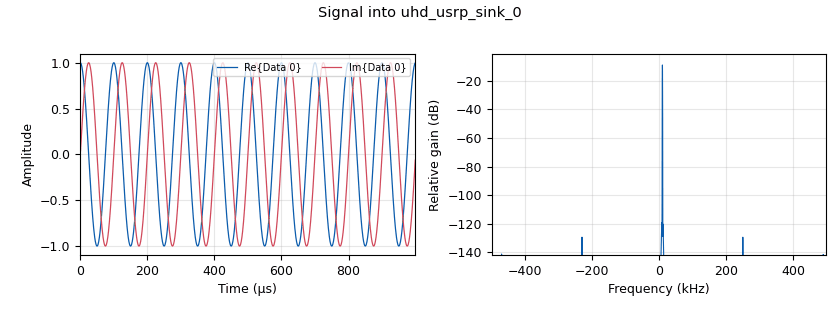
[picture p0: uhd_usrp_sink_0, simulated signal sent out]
<?xml version='1.0' encoding='utf-8'?>
<?grc format='1' created='3.7.5'?>
<flow_graph>
<block>
<key>options</key>
<param><key>id</key><value>top_block</value></param>
<param><key>generate_options</key><value>wx_gui</value></param>
<param><key>category</key><value>Custom</value></param>
</block>
<block>
<key>variable</key>
<param><key>id</key><value>samp_rate</value></param>
<param><key>value</key><value>1e6</value></param>
</block>
<block>
<key>analog_sig_source_x</key>
<param><key>id</key><value>analog_sig_source_x_0</value></param>
<param><key>type</key><value>complex</value></param>
<param><key>samp_rate</key><value>samp_rate</value></param>
<param><key>waveform</key><value>analog.GR_COS_WAVE</value></param>
<param><key>freq</key><value>10e3</value></param>
<param><key>amp</key><value>1</value></param>
<param><key>offset</key><value>0</value></param>
</block>
<block>
<key>analog_const_source_x</key>
<param><key>id</key><value>analog_const_source_x_0</value></param>
<param><key>_enabled</key><value>False</value></param>
<param><key>type</key><value>complex</value></param>
<param><key>const</key><value>1</value></param>
</block>
<block>
<key>variable_slider</key>
<param><key>id</key><value>central_freq</value></param>
<param><key>label</key><value></value></param>
<param><key>value</key><value>0</value></param>
<param><key>min</key><value>0</value></param>
<param><key>max</key><value>20e6</value></param>
<param><key>num_steps</key><value>200</value></param>
<param><key>style</key><value>wx.SL_HORIZONTAL</value></param>
<param><key>converver</key><value>float_converter</value></param>
</block>
<block>
<key>uhd_usrp_sink</key>
<param><key>id</key><value>uhd_usrp_sink_0</value></param>
<param><key>type</key><value>fc32</value></param>
<param><key>dev_addr</key><value>addr=192.168.91.9</value></param>
<param><key>dev_args</key><value>""</value></param>
<param><key>sync</key><value></value></param>
<param><key>clock_rate</key><value>0.0</value></param>
<param><key>sd_spec0</key><value>A:A</value></param>
<param><key>samp_rate</key><value>samp_rate</value></param>
<param><key>center_freq0</key><value>central_freq</value></param>
<param><key>gain0</key><value>0</value></param>
<param><key>ant0</key><value></value></param>
<param><key>len_tag_name</key><value></value></param>
</block>
<block>
<key>variable_slider</key>
<param><key>id</key><value>central_freq</value></param>
<param><key>_enabled</key><value>False</value></param>
<param><key>label</key><value></value></param>
<param><key>value</key><value>2e6</value></param>
<param><key>min</key><value>0</value></param>
<param><key>max</key><value>30e6</value></param>
<param><key>num_steps</key><value>150</value></param>
<param><key>style</key><value>wx.SL_HORIZONTAL</value></param>
<param><key>converver</key><value>float_converter</value></param>
</block>
<block>
<key>wxgui_scopesink2</key>
<param><key>id</key><value>wxgui_scopesink2_0</value></param>
<param><key>type</key><value>complex</value></param>
<param><key>title</key><value>Scope Plot</value></param>
<param><key>samp_rate</key><value>samp_rate</value></param>
<param><key>v_scale</key><value>0</value></param>
<param><key>v_offset</key><value>0</value></param>
<param><key>t_scale</key><value>0</value></param>
<param><key>ac_couple</key><value>False</value></param>
<param><key>xy_mode</key><value>False</value></param>
<param><key>num_inputs</key><value>1</value></param>
<param><key>trig_mode</key><value>wxgui.TRIG_MODE_AUTO</value></param>
<param><key>y_axis_label</key><value>Counts</value></param>
</block>
<block>
<key>uhd_usrp_source</key>
<param><key>id</key><value>uhd_usrp_source_RX1</value></param>
<param><key>type</key><value>fc32</value></param>
<param><key>dev_addr</key><value>addr=192.168.91.10</value></param>
<param><key>dev_args</key><value>""</value></param>
<param><key>sync</key><value></value></param>
<param><key>clock_rate</key><value>0.0</value></param>
<param><key>clock_source0</key><value>mimo</value></param>
<param><key>sd_spec0</key><value>A:A</value></param>
<param><key>samp_rate</key><value>samp_rate</value></param>
<param><key>center_freq0</key><value>central_freq</value></param>
<param><key>gain0</key><value>0</value></param>
<param><key>ant0</key><value></value></param>
</block>
<connection><source_block_id>analog_const_source_x_0</source_block_id><sink_block_id>uhd_usrp_sink_0</sink_block_id><source_key>0</source_key><sink_key>0</sink_key></connection>
<connection><source_block_id>analog_sig_source_x_0</source_block_id><sink_block_id>uhd_usrp_sink_0</sink_block_id><source_key>0</source_key><sink_key>0</sink_key></connection>
<connection><source_block_id>uhd_usrp_source_RX1</source_block_id><sink_block_id>wxgui_scopesink2_0</sink_block_id><source_key>0</source_key><sink_key>0</sink_key></connection>
</flow_graph>
